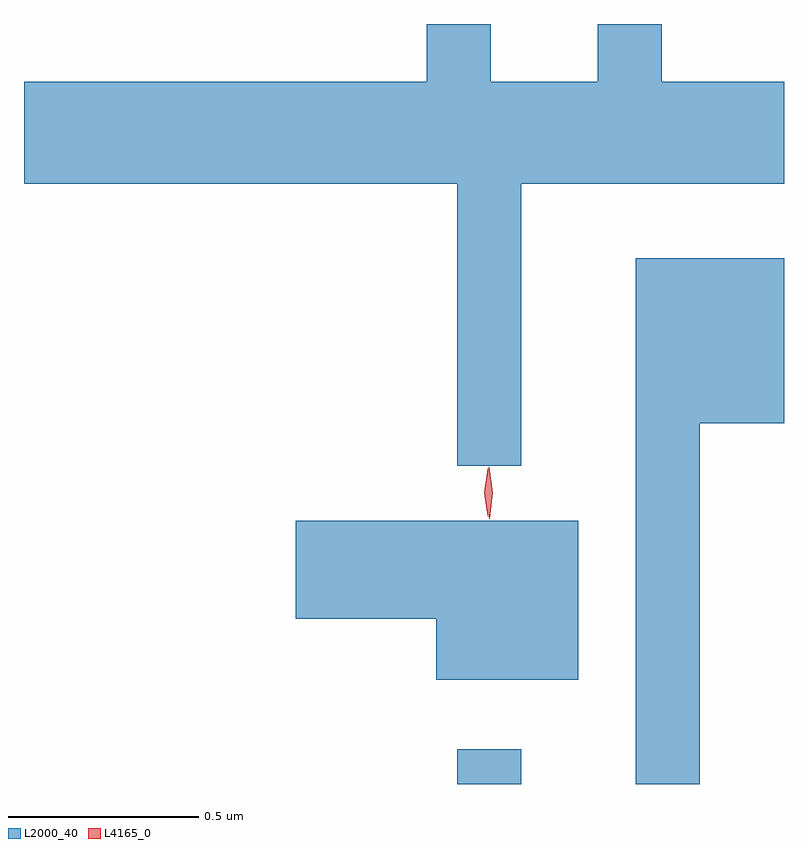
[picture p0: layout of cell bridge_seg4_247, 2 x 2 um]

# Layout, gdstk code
import gdstk
lib = gdstk.Library(unit=1e-6, precision=1e-09)
def R(c, l, rs):  # rectangles x0, y0, x1, y1
    for r in rs: c.add(gdstk.rectangle(r[:2], r[2:], *l))
def P(c, l, *ps):  # polygons
    for p in ps: c.add(gdstk.Polygon(p, *l))
L2000_40 = (2000, 40)
L4165_0 = (4165, 0)

bridge_seg4_247 = lib.new_cell('bridge_seg4_247')
R(bridge_seg4_247, L2000_40, [(736.311,1375.296,736.479,1375.388)])
P(bridge_seg4_247, L2000_40, [(736.479,1376.876),(737.171,1376.876),(737.171,1377.144),(736.849,1377.144),(736.849,1377.296),(736.681,1377.296),(736.681,1377.144),(736.399,1377.144),(736.399,1377.296),(736.231,1377.296),(736.231,1377.144),(735.171,1377.144),(735.171,1376.876),(736.311,1376.876),(736.311,1376.133),(736.479,1376.133)],
  [(736.949,1376.246),(737.171,1376.246),(737.171,1376.679),(736.781,1376.679),(736.781,1375.296),(736.949,1375.296)],
  [(736.629,1375.989),(735.886,1375.989),(735.886,1375.731),(736.256,1375.731),(736.256,1375.571),(736.629,1375.571)])
P(bridge_seg4_247, L4165_0, [(736.395,1375.994),(736.385,1376.062),(736.394,1376.13),(736.395,1376.13),(736.395,1376.13),(736.405,1376.062),(736.396,1375.994),(736.396,1375.994)],
  [(736.392,1376),(736.392,1376),(736.382,1376.063),(736.392,1376.126),(736.392,1376.127),(736.392,1376.126),(736.402,1376.063),(736.392,1376)])

lib.write_gds('bridge_seg4_247.gds')
